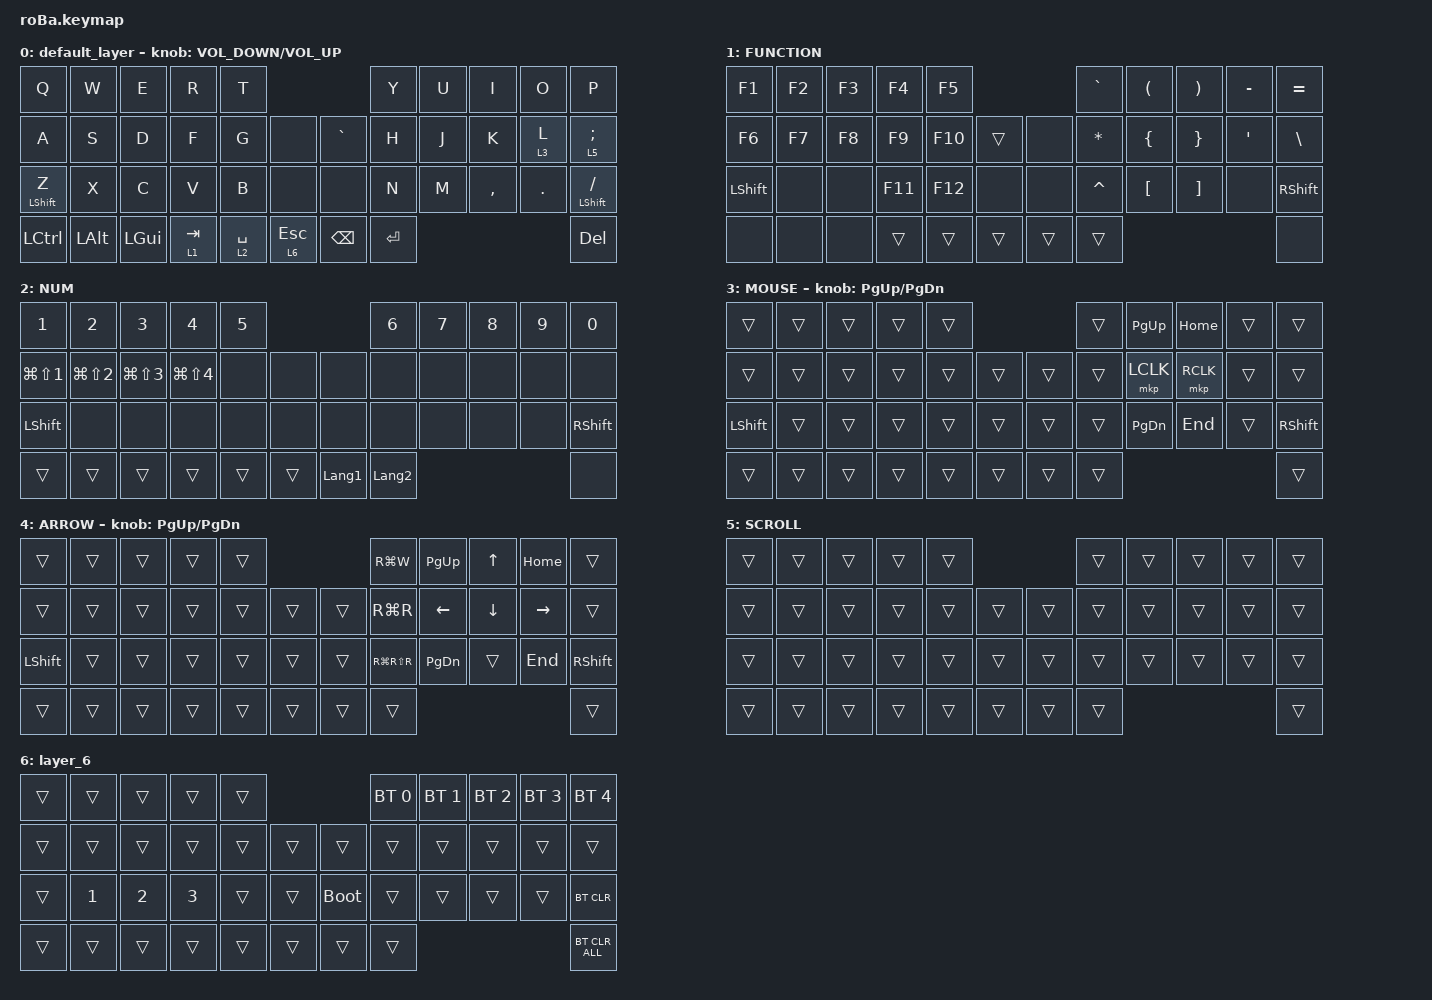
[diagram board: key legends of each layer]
#include <behaviors.dtsi>
#include <dt-bindings/zmk/bt.h>
#include <dt-bindings/zmk/keys.h>
#include <dt-bindings/zmk/pointing.h>

#define MOUSE 4
#define SCROLL 5
#define NUM 6

&mt {
    flavor = "balanced";
    quick-tap-ms = <0>;
};

/ {
    combos {
        compatible = "zmk,combos";

        tab {
            bindings = <&kp TAB>;
            key-positions = <11 12>;
        };

        shift_tab {
            bindings = <&kp LS(TAB)>;
            key-positions = <12 13>;
        };

        muhennkann {
            bindings = <&to_layer_0 INT_MUHENKAN>;
            key-positions = <11 10>;
        };

        double_quotation {
            bindings = <&kp DOUBLE_QUOTES>;
            key-positions = <20 21>;
        };

        eq {
            bindings = <&kp EQUAL>;
            key-positions = <24 25>;
        };
    };

    macros {
        to_layer_0: to_layer_0 {
            compatible = "zmk,behavior-macro-one-param";
            #binding-cells = <1>;
            bindings = <&to 0 &macro_param_1to1 &kp MACRO_PLACEHOLDER>;
            label = "TO_LAYER_0";
        };
    };

    behaviors {
        lt_to_layer_0: lt_to_layer_0 {
            compatible = "zmk,behavior-hold-tap";
            label = "LAYER_TAP_TO_0";
            bindings = <&mo>, <&to_layer_0>;

            #binding-cells = <2>;
            tapping-term-ms = <200>;
        };
    };

    keymap {
        compatible = "zmk,keymap";

        default_layer {
            bindings = <
&kp Q             &kp W         &kp E         &kp R      &kp T                                         &kp Y      &kp U  &kp I      &kp O    &kp P
&kp A             &kp S         &kp D         &kp F      &kp G        &none             &kp GRAVE      &kp H      &kp J  &kp K      &lt 3 L  &lt 5 SEMICOLON
&mt LEFT_SHIFT Z  &kp X         &kp C         &kp V      &kp B        &none             &none          &kp N      &kp M  &kp COMMA  &kp DOT  &mt LEFT_SHIFT SLASH
&kp LCTRL         &kp LEFT_ALT  &kp LEFT_GUI  &lt 1 TAB  &lt 2 SPACE  &lt 6 ESCAPE      &kp BACKSPACE  &kp ENTER                             &kp DEL
            >;

            sensor-bindings = <&inc_dec_kp C_VOLUME_DOWN C_VOLUME_UP>;
        };

        FUNCTION {
            bindings = <
&kp F1          &kp F2  &kp F3  &kp F4   &kp F5                       &kp GRAVE     &kp LEFT_PARENTHESIS  &kp RIGHT_PARENTHESIS  &kp MINUS         &kp EQUAL
&kp F6          &kp F7  &kp F8  &kp F9   &kp F10  &trans      &none   &kp ASTERISK  &kp LEFT_BRACE        &kp RIGHT_BRACE        &kp SINGLE_QUOTE  &kp BACKSLASH
&kp LEFT_SHIFT  &none   &none   &kp F11  &kp F12  &none       &none   &kp CARET     &kp LEFT_BRACKET      &kp RIGHT_BRACKET      &none             &kp RIGHT_SHIFT
&none           &none   &none   &trans   &trans   &trans      &trans  &trans                                                                       &none
            >;
        };

        NUM {
            bindings = <
&kp NUMBER_1          &kp NUMBER_2          &kp NUMBER_3          &kp NUMBER_4          &kp N5                              &kp NUMBER_6    &kp NUMBER_7  &kp NUMBER_8  &kp NUMBER_9  &kp NUMBER_0
&kp LG(LS(NUMBER_1))  &kp LG(LS(NUMBER_2))  &kp LG(LS(NUMBER_3))  &kp LG(LS(NUMBER_4))  &none   &none       &none           &none           &none         &none         &none         &none
&kp LEFT_SHIFT        &none                 &none                 &none                 &none   &none       &none           &none           &none         &none         &none         &kp RIGHT_SHIFT
&trans                &trans                &trans                &trans                &trans  &trans      &kp LANGUAGE_1  &kp LANGUAGE_2                                            &none
            >;
        };

        MOUSE {
            bindings = <
&trans          &trans  &trans  &trans  &trans                      &trans  &kp PAGE_UP    &kp HOME   &trans  &trans
&trans          &trans  &trans  &trans  &trans  &trans      &trans  &trans  &mkp LCLK      &mkp RCLK  &trans  &trans
&kp LEFT_SHIFT  &trans  &trans  &trans  &trans  &trans      &trans  &trans  &kp PAGE_DOWN  &kp END    &trans  &kp RIGHT_SHIFT
&trans          &trans  &trans  &trans  &trans  &trans      &trans  &trans                                    &trans
            >;

            sensor-bindings = <&inc_dec_kp PAGE_UP PAGE_DOWN>;
        };

        ARROW {
            bindings = <
&trans          &trans  &trans  &trans  &trans                      &kp RG(W)      &kp PAGE_UP    &kp UP    &kp HOME   &trans
&trans          &trans  &trans  &trans  &trans  &trans      &trans  &kp RG(R)      &kp LEFT       &kp DOWN  &kp RIGHT  &trans
&kp LEFT_SHIFT  &trans  &trans  &trans  &trans  &trans      &trans  &kp RG(RS(R))  &kp PAGE_DOWN  &trans    &kp END    &kp RIGHT_SHIFT
&trans          &trans  &trans  &trans  &trans  &trans      &trans  &trans                                             &trans
            >;

            sensor-bindings = <&inc_dec_kp PAGE_UP PAGE_DOWN>;
        };

        SCROLL {
            bindings = <
&trans  &trans  &trans  &trans  &trans                      &trans  &trans  &trans  &trans  &trans
&trans  &trans  &trans  &trans  &trans  &trans      &trans  &trans  &trans  &trans  &trans  &trans
&trans  &trans  &trans  &trans  &trans  &trans      &trans  &trans  &trans  &trans  &trans  &trans
&trans  &trans  &trans  &trans  &trans  &trans      &trans  &trans                          &trans
            >;
        };

        layer_6 {
            bindings = <
&trans  &trans        &trans        &trans        &trans                           &bt BT_SEL 0  &bt BT_SEL 1  &bt BT_SEL 2  &bt BT_SEL 3  &bt BT_SEL 4
&trans  &trans        &trans        &trans        &trans  &trans      &trans       &trans        &trans        &trans        &trans        &trans
&trans  &kp NUMBER_1  &kp NUMBER_2  &kp NUMBER_3  &trans  &trans      &bootloader  &trans        &trans        &trans        &trans        &bt BT_CLR
&trans  &trans        &trans        &trans        &trans  &trans      &trans       &trans                                                  &bt BT_CLR_ALL
            >;
        };
    };

    conditional_layers {
        compatible = "zmk,conditional-layers";

        activate_scroll_with_arrow {
            if-layers = <5>;
            then-layer = <4>;
        };
    };
};
